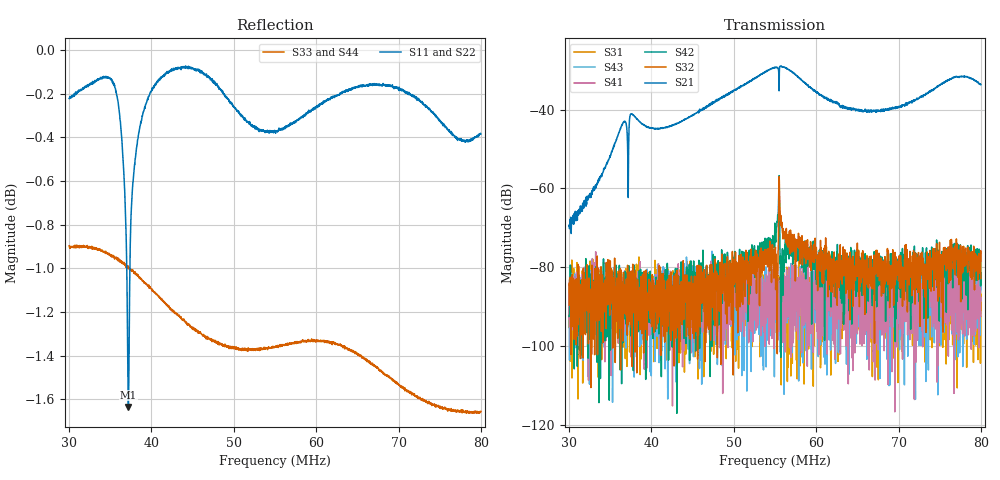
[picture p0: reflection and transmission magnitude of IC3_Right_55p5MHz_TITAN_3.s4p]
#  HZ  S  DB  R  50.00
! Rohde & Schwarz Vector Network Analyzer
! Rohde-Schwarz,ZNB8-4Port,1311601044102961,2.82
! Created: UTC 2/8/2019, 2:45:06 PM
! freq[Hz]  db:S11  ang:S11  db:S12  ang:S12  db:S13  ang:S13  db:S14  ang:S14
!  db:S21  ang:S21  db:S22  ang:S22  db:S23  ang:S23  db:S24  ang:S24
!  db:S31  ang:S31  db:S32  ang:S32  db:S33  ang:S33  db:S34  ang:S34
!  db:S41  ang:S41  db:S42  ang:S42  db:S43  ang:S43  db:S44  ang:S44
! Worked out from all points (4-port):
!   2001 points, 30 MHz to 80 MHz, reference 50 ohm
!   strongest paths, dB at 30 MHz, 42.5 MHz, 55 MHz, 67.5 MHz, 80 MHz:
!     S21: -69.6, -44.1, -29.3, -40.2, -33.7
!     S32: -89.6, -95.9, -79.4, -79.6, -82.9
!     S42: -92.5, -87.3, -72.6, -84.7, -82.2
!     S41: -83.4, -84.3, -88.5, -101.0, -88.5
!     S43: -85.0, -96.5, -85.4, -95.7, -85.8
!     S31: -87.2, -81.3, -77.3, -96.5, -90.9
!   lowest |S11| = -1.6 dB at 37.2 MHz (marker M1), VSWR 10.66, Z = 124 + j221 ohm
!   |S11| at or under -10 dB: nowhere
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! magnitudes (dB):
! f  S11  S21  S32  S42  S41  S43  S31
! 30 MHz  -0.2  -69.6  -89.6  -92.5  -83.4  -85.0  -87.2
! 37.2 MHz  -1.6  -54.5  -88.8  -83.8  -86.2  -85.3  -85.9
! 51.58 MHz  -0.3  -33.2  -76.2  -80.1  -83.7  -111.5  -85.2
! 55.1 MHz  -0.4  -29.3  -83.6  -73.6  -86.3  -83.8  -88.5
! 55.67 MHz  -0.4  -29.0  -68.4  -89.7  -85.2  -87.7  -88.1
! 61.17 MHz  -0.2  -37.2  -78.3  -78.9  -80.6  -86.1  -87.2
! 80 MHz  -0.4  -33.7  -82.9  -82.2  -88.5  -85.8  -90.9
